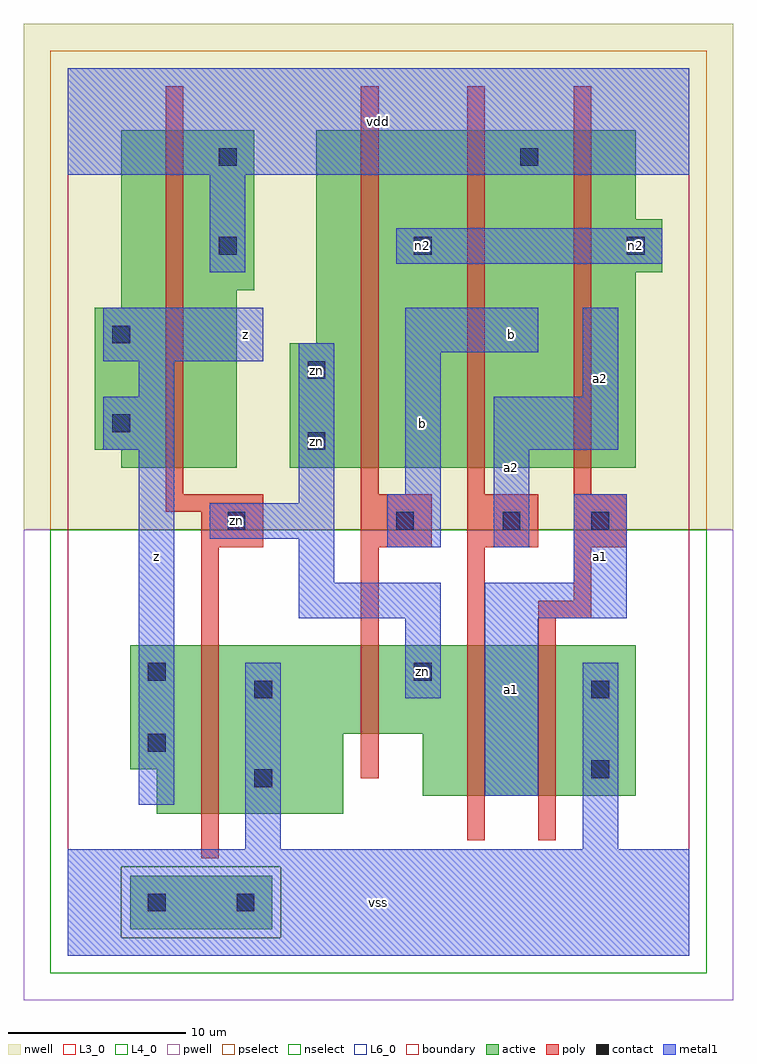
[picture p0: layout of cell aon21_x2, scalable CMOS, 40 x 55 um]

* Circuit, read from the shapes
.subckt aon21_x2 a1 a2 b n2 vdd vss z zn
M1 vss zn z vss nfet w=9.5u l=1u
M2 zn b vss vss nfet w=5u l=1u
M3 n1 a2 zn vss nfet w=8.5u l=1u
M4 vss a1 n1 vss nfet w=8.5u l=1u
M5 vdd zn z n3 pfet w=19u l=1u
M6 n2 b zn n3 pfet w=19u l=1u
M7 vdd a2 n2 n3 pfet w=19u l=1u
M8 n2 a1 vdd n3 pfet w=19u l=1u
.ends

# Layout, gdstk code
import gdstk
lib = gdstk.Library(unit=1e-6, precision=1e-09)
def R(c, l, rs):  # rectangles x0, y0, x1, y1
    for r in rs: c.add(gdstk.rectangle(r[:2], r[2:], *l))
def A(c, l, x, y, w, h, nx, ny, dx, dy):  # array of equal rectangles
    R(c, l, [(x+i*dx, y+j*dy, x+i*dx+w, y+j*dy+h) for i in range(nx) for j in range(ny)])
L3_0 = (3, 0)
L4_0 = (4, 0)
L6_0 = (6, 0)
contact = (25, 0)
pwell = (41, 0)
nwell = (42, 0)
active = (43, 0)
pselect = (44, 0)
nselect = (45, 0)
poly = (46, 0)
metal1 = (49, 0)
boundary = (63, 0)

aon21_x2 = lib.new_cell('aon21_x2')
R(aon21_x2, L3_0, [(5,8,15.5,10.5), (20,9,32,12.5), (3.5,10.5,15.5,12.5), (3.5,12.5,32,17.5)])
R(aon21_x2, L4_0, [(3,27.5,9.5,28.5), (12.5,27.5,32,34.5), (1.5,28.5,9.5,36.5), (14,34.5,32,38.5), (3,36.5,9.5,37.5), (3,37.5,10.5,46.5), (14,38.5,33.5,41.5), (14,41.5,32,46.5)])
R(aon21_x2, L6_0, [(3.5,1.5,11.5,4.5)])
R(aon21_x2, contact, [(4.5,2.5,5.5,3.5), (9.5,2.5,10.5,3.5), (10.5,9.5,11.5,10.5), (29.5,10,30.5,11), (4.5,11.5,5.5,12.5), (10.5,14.5,11.5,15.5), (29.5,14.5,30.5,15.5), (4.5,15.5,5.5,16.5), (19.5,15.5,20.5,16.5), (9,24,10,25), (18.5,24,19.5,25), (24.5,24,25.5,25), (29.5,24,30.5,25), (13.5,28.5,14.5,29.5), (2.5,29.5,3.5,30.5), (13.5,32.5,14.5,33.5), (2.5,34.5,3.5,35.5), (8.5,39.5,9.5,40.5), (19.5,39.5,20.5,40.5), (31.5,39.5,32.5,40.5), (8.5,44.5,9.5,45.5), (25.5,44.5,26.5,45.5)])
R(aon21_x2, pwell, [(-2.5,-2.5,37.5,24)])
R(aon21_x2, nwell, [(-2.5,24,37.5,52.5)])
R(aon21_x2, active, [(3.5,1.5,11.5,4.5), (5,8,15.5,10.5), (20,9,32,12.5), (3.5,10.5,15.5,12.5), (3.5,12.5,32,17.5), (3,27.5,9.5,28.5), (12.5,27.5,32,34.5), (1.5,28.5,9.5,36.5), (14,34.5,32,38.5), (3,36.5,9.5,37.5), (3,37.5,10.5,46.5), (14,38.5,33.5,41.5), (14,41.5,32,46.5)])
R(aon21_x2, pselect, [(3,1,12,5), (-1,24,36,51)])
R(aon21_x2, nselect, [(-1,-1,36,1), (-1,1,3,5), (12,1,36,5), (-1,5,36,24)])
A(aon21_x2, poly, 16.5, 26, 1, 23, 3, 1, 6, 0)
R(aon21_x2, poly, [(7.5,5.5,8.5,23), (22.5,6.5,23.5,23), (26.5,6.5,27.5,19), (16.5,10,17.5,23), (26.5,19,29.5,20), (28.5,20,29.5,23), (7.5,23,11,25), (16.5,23,20.5,26), (22.5,23,26.5,26), (28.5,23,31.5,26), (5.5,25,11,26), (5.5,26,6.5,49)])
R(aon21_x2, metal1, [(0,0,35,6), (0,0,35,6), (10,6,12,16.5), (10,6,12,16.5), (29,6,31,16.5), (29,6,31,16.5), (4,8.5,6,28.5), (4,8.5,6,28.5), (23.5,9,26.5,19), (23.5,9,26.5,19), (19,14.5,21,19), (19,14.5,21,19), (13,19,21,21), (13,19,21,21), (23.5,19,31.5,21), (23.5,19,31.5,21), (13,21,15,23.5), (13,21,15,23.5), (28.5,21,31.5,26), (28.5,21,31.5,26), (18,23,21,26), (18,23,21,26), (24,23,26,28.5), (24,23,26,28.5), (8,23.5,15,25.5), (8,23.5,15,25.5), (13,25.5,15,34.5), (13,25.5,15,34.5), (19,26,21,34), (19,26,21,34), (2,28.5,6,31.5), (2,28.5,6,31.5), (24,28.5,31,31.5), (24,28.5,31,31.5), (4,31.5,6,33.5), (4,31.5,6,33.5), (29,31.5,31,36.5), (29,31.5,31,36.5), (2,33.5,11,36.5), (2,33.5,11,36.5), (19,34,26.5,36.5), (19,34,26.5,36.5), (8,38.5,10,44), (8,38.5,10,44), (18.5,39,33.5,41), (18.5,39,33.5,41), (0,44,35,50), (0,44,35,50)])
R(aon21_x2, boundary, [(0,0,35,50)])
aon21_x2.add(gdstk.Label('zn', (9.5,24.5), layer=49, texttype=0))
aon21_x2.add(gdstk.Label('zn', (14,29), layer=49, texttype=0))
aon21_x2.add(gdstk.Label('zn', (14,33), layer=49, texttype=0))
aon21_x2.add(gdstk.Label('zn', (20,16), layer=49, texttype=0))
aon21_x2.add(gdstk.Label('n2', (20,40), layer=49, texttype=0))
aon21_x2.add(gdstk.Label('n2', (32,40), layer=49, texttype=0))
aon21_x2.add(gdstk.Label('z', (5,22.5), layer=49, texttype=0))
aon21_x2.add(gdstk.Label('z', (10,35), layer=49, texttype=0))
aon21_x2.add(gdstk.Label('vss', (17.5,3), layer=49, texttype=0))
aon21_x2.add(gdstk.Label('a1', (25,15), layer=49, texttype=0))
aon21_x2.add(gdstk.Label('b', (25,35), layer=49, texttype=0))
aon21_x2.add(gdstk.Label('a2', (25,27.5), layer=49, texttype=0))
aon21_x2.add(gdstk.Label('b', (20,30), layer=49, texttype=0))
aon21_x2.add(gdstk.Label('vdd', (17.5,47), layer=49, texttype=0))
aon21_x2.add(gdstk.Label('a1', (30,22.5), layer=49, texttype=0))
aon21_x2.add(gdstk.Label('a2', (30,32.5), layer=49, texttype=0))

lib.write_gds('aon21_x2.gds')
